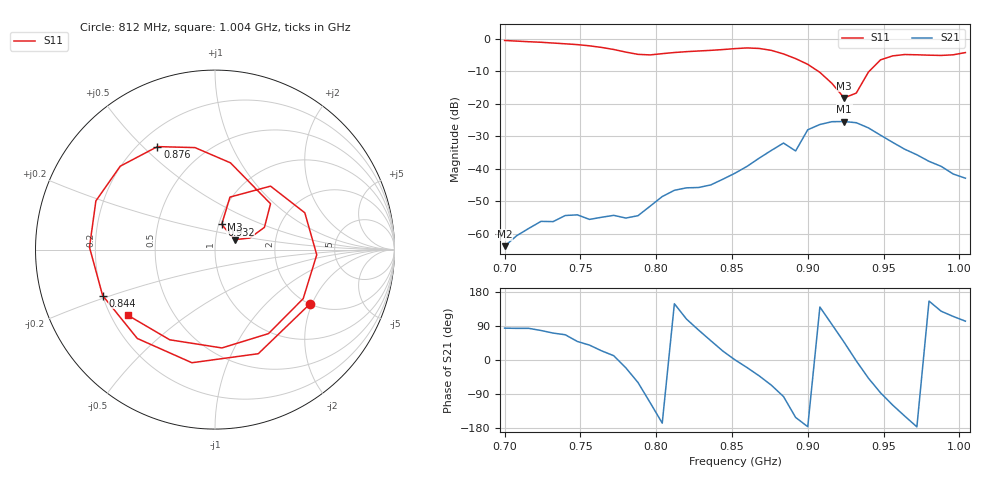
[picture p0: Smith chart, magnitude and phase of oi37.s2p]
# Hz S RI R 50
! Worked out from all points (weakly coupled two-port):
!   39 points, 700 MHz to 1.004 GHz, reference 50 ohm
!   highest |S21| = -25.52 dB at 924 MHz (marker M1); lowest = -63.8 dB at 700 MHz (marker M2)
!   lowest |S11| = -18.2 dB at 924 MHz (marker M3), VSWR 1.28, Z = 61.8 + j6.96 ohm
!   |S11| at or under -10 dB: 906.7 MHz to 940.7 MHz (34 MHz wide, 3.68 % of centre)
!   S12 and S22 are empty: the file has one direction only
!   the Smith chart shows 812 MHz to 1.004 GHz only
!   S11 on the Smith chart (normalised r, x): 812 MHz: 2.00, -1.93; 844 MHz: 0.20, -0.19; 876 MHz: 0.27, +0.55; 932 MHz: 1.03, +0.30; 1.004 GHz: 0.27, -0.31
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7e8  0.7664 0.5334  6.67e-05 0.000639  0 0  0 0
7.24e8  0.8366 -0.2597  0.000325 0.00151  0 0  0 0
7.4e8  0.4458 -0.6997  0.000755 0.00175  0 0  0 0
7.56e8  -0.194 -0.7476  0.00128 0.00105  0 0  0 0
7.72e8  -0.652 -0.1854  0.00188 0.000376  0 0  0 0
7.8e8  -0.5741 0.2292  0.00163 -0.000616  0 0  0 0
7.88e8  -0.2192 0.527  0.000963 -0.00163  0 0  0 0
7.96e8  0.2614 0.4949  -0.00101 -0.00245  0 0  0 0
8.04e8  0.5681 0.1401  -0.00362 -0.000861  0 0  0 0
8.12e8  0.5288 -0.3027  -0.00396 0.00243  0 0  0 0
8.28e8  -0.1286 -0.6303  0.000987 0.00503  0 0  0 0
8.44e8  -0.6261 -0.2559  0.0063 0.00274  0 0  0 0
8.52e8  -0.6993 0.0132  0.00851 5.68e-05  0 0  0 0
8.76e8  -0.3209 0.5738  0.00759 -0.0175  0 0  0 0
8.92e8  0.0862 0.4834  -0.0164 -0.0089  0 0  0 0
9.08e8  0.2755 0.124  -0.0364 0.0308  0 0  0 0
9.24e8  0.1091 0.0555  0.0363 0.0385  0 0  0 0
9.32e8  0.0372 0.1401  0.0508 -0.00204  0 0  0 0
9.48e8  0.3095 0.3536  0.00198 -0.0326  0 0  0 0
9.56e8  0.5004 0.2051  -0.0122 -0.0222  0 0  0 0
9.8e8  0.2979 -0.4681  -0.0118 0.00537  0 0  0 0
1.004e9  -0.4867 -0.3651  -0.00154 0.00696  0 0  0 0
